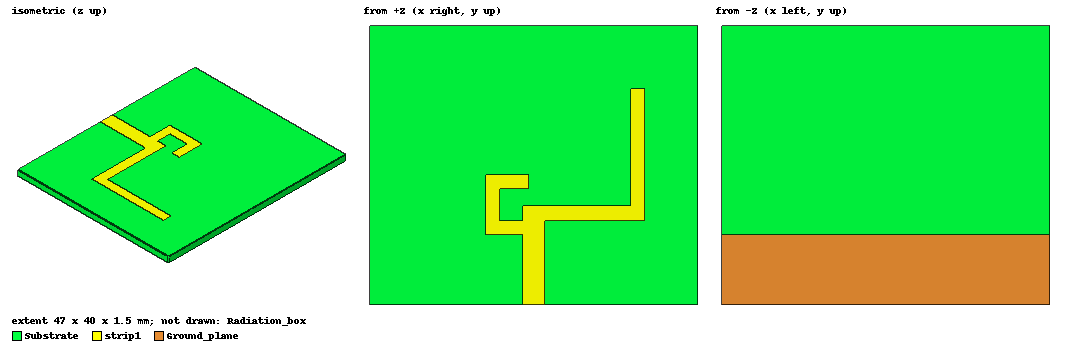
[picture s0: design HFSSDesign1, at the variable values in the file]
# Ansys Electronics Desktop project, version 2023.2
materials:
  vacuum: permittivity=1
  air: permittivity=1.0006 permeability=1.0000004
  Teflon (tm): permittivity=2.1 dielectric_loss_tangent=0.001
  Teflon (tm) - Copy: permittivity=2.65 dielectric_loss_tangent=0.001

design HFSSDesign1 (HFSS, HFSS Terminal Network, model units mm)
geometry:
  Ground_plane = rectangle(corner=(0mm, 0mm, 0mm), x_size=47mm, y_size=10mm)
  Substrate [Teflon (tm) - Copy] = box(corner=(0mm, 0mm, 0mm), size=(47mm, 40mm, 1.5mm))
  strip1 = rectangle(corner=(21.9mm, 0mm, 1.5mm), x_size=3.2mm, y_size=12mm)
  strip2 = rectangle(corner=(21.9mm, 12mm, 1.5mm), x_size=15.45mm, y_size=2.2mm)
  strip3 = rectangle(corner=(21.9mm, 10mm, 1.5mm), x_size=-5.25mm, y_size=2mm)
  strip4 = rectangle(corner=(16.65mm, 12mm, 1.5mm), x_size=2mm, y_size=6.6mm)
  strip5 = rectangle(corner=(18.65mm, 18.6mm, 1.5mm), x_size=4.1mm, y_size=-2mm)
  strip6 = rectangle(corner=(37.35mm, 12mm, 1.5mm), x_size=2mm, y_size=19mm)
  Port = rectangle(corner=(21.9mm, 0mm, 1.5mm), z_size=-1.5mm, x_size=3.2mm)
  strip1.unite(strip2..strip6)
  Radiation_box [air] = box(corner=(-10.5mm, -8mm, -5mm), size=(68mm, 56mm, 10mm))
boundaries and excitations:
  PerfE1: Perfect E Objects=[strip1, Ground_plane]
  Rad1: Radiation Objects=Radiation_box
  1: Lumped Port Objects=Port LumpedPortType=Modal Modes{Mode1{IntLine{(23.5, 0, 0) -> (23.5, 0, 1.5)} CharImp=Zpi RenormImp=50ohm}} Impedance=50ohm
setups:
  Setup1: HfssDrivenAuto AutoSolverSetting=Balanced Type=Interpolating
    sweep Sweep: 0GHz to 7GHz, 501 points;
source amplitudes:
  1:1: 1V 0deg
